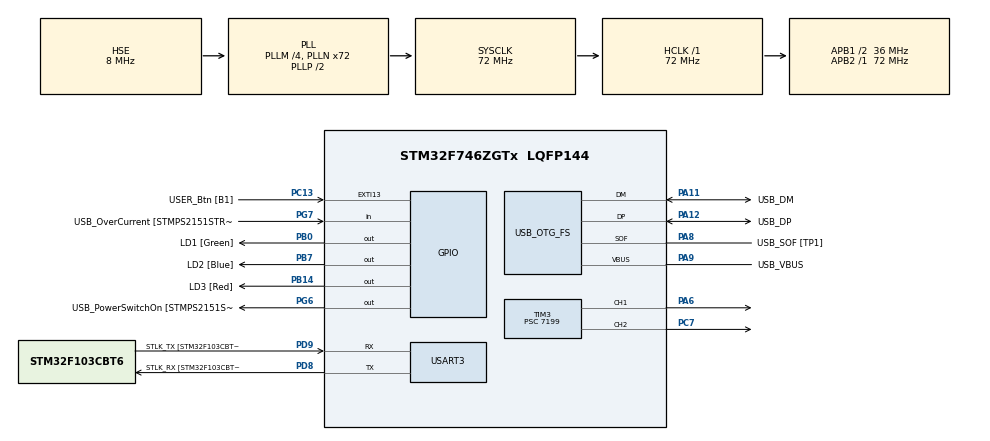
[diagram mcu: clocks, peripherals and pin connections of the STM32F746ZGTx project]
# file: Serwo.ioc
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Mcu.Family=STM32F7
Mcu.Name=STM32F746ZGTx
Mcu.Package=LQFP144
NVIC.EXTI15_10_IRQn=true\:0\:0\:false\:false\:true\:true\:true
NVIC.PriorityGroup=NVIC_PRIORITYGROUP_4
NVIC.TIM3_IRQn=true\:0\:0\:false\:false\:true\:true\:true
NVIC.TIM4_IRQn=true\:0\:0\:false\:false\:true\:true\:true
NVIC.USART3_IRQn=true\:0\:0\:false\:false\:true\:true\:true
PA1.GPIO_Label=RMII_REF_CLK [LAN8742A-CZ-TR_REFCLK0]
PA1.Signal=ETH_REF_CLK
PA10.GPIO_Label=USB_ID
PA10.Signal=USB_OTG_FS_ID
PA11.GPIO_Label=USB_DM
PA11.Mode=Device_Only
PA11.Signal=USB_OTG_FS_DM
PA12.GPIO_Label=USB_DP
PA12.Mode=Device_Only
PA12.Signal=USB_OTG_FS_DP
PA13.GPIO_Label=TMS
PA13.Mode=Serial_Wire
PA13.Signal=SYS_JTMS-SWDIO
PA14.GPIO_Label=TCK
PA14.Mode=Serial_Wire
PA14.Signal=SYS_JTCK-SWCLK
PA2.GPIO_Label=RMII_MDIO [LAN8742A-CZ-TR_MDIO]
PA2.Signal=ETH_MDIO
PA6.Signal=S_TIM3_CH1
PA7.GPIO_Label=RMII_CRS_DV [LAN8742A-CZ-TR_CRS_DV]
PA7.Signal=ETH_CRS_DV
PA8.GPIO_Label=USB_SOF [TP1]
PA8.Mode=Activate_SOF_FS
PA8.Signal=USB_OTG_FS_SOF
PA9.GPIO_Label=USB_VBUS
PA9.Mode=Activate_VBUS
PA9.Signal=USB_OTG_FS_VBUS
PB0.GPIO_Label=LD1 [Green]
PB0.Signal=GPIO_Output
PB13.GPIO_Label=RMII_TXD1 [LAN8742A-CZ-TR_TXD1]
PB13.Signal=ETH_TXD1
PB14.GPIO_Label=LD3 [Red]
PB14.Signal=GPIO_Output
PB3.GPIO_Label=SW0
PB3.Signal=SYS_JTDO-SWO
PB7.GPIO_Label=LD2 [Blue]
PB7.Signal=GPIO_Output
PC1.GPIO_Label=RMII_MDC [LAN8742A-CZ-TR_MDC]
PC1.Signal=ETH_MDC
PC13.GPIO_Label=USER_Btn [B1]
PC13.Signal=GPXTI13
PC14/OSC32_IN.Mode=LSE-External-Oscillator
PC14/OSC32_IN.Signal=RCC_OSC32_IN
PC15/OSC32_OUT.Mode=LSE-External-Oscillator
PC15/OSC32_OUT.Signal=RCC_OSC32_OUT
PC4.GPIO_Label=RMII_RXD0 [LAN8742A-CZ-TR_RXD0]
PC4.Signal=ETH_RXD0
PC5.GPIO_Label=RMII_RXD1 [LAN8742A-CZ-TR_RXD1]
PC5.Signal=ETH_RXD1
PC7.Signal=S_TIM3_CH2
PD8.GPIO_Label=STLK_RX [STM32F103CBT6_PA3]
PD8.Mode=Asynchronous
PD8.Signal=USART3_TX
PD9.GPIO_Label=STLK_TX [STM32F103CBT6_PA2]
PD9.Mode=Asynchronous
PD9.Signal=USART3_RX
PG11.GPIO_Label=RMII_TX_EN [LAN8742A-CZ-TR_TXEN]
PG11.Signal=ETH_TX_EN
PG13.GPIO_Label=RMII_TXD0 [LAN8742A-CZ-TR_TXD0]
PG13.Signal=ETH_TXD0
PG6.GPIO_Label=USB_PowerSwitchOn [STMPS2151STR_EN]
PG6.Signal=GPIO_Output
PG7.GPIO_Label=USB_OverCurrent [STMPS2151STR_FAULT]
PG7.Signal=GPIO_Input
PH0/OSC_IN.GPIO_Label=MCO [STM32F103CBT6_PA8]
PH0/OSC_IN.Mode=HSE-External-Clock-Source
PH0/OSC_IN.Signal=RCC_OSC_IN
PH1/OSC_OUT.Mode=HSE-External-Clock-Source
PH1/OSC_OUT.Signal=RCC_OSC_OUT
ProjectManager.HeapSize=0x200
ProjectManager.StackSize=0x400
ProjectManager.TargetToolchain=STM32CubeIDE
RCC.48MHZClocksFreq_Value=24000000
RCC.AHBFreq_Value=72000000
RCC.APB1CLKDivider=RCC_HCLK_DIV2
RCC.APB1Freq_Value=36000000
RCC.APB1TimFreq_Value=72000000
RCC.APB2Freq_Value=72000000
RCC.APB2TimFreq_Value=72000000
RCC.CortexFreq_Value=72000000
RCC.HCLKFreq_Value=72000000
RCC.HSE_VALUE=8000000
RCC.HSI_VALUE=16000000
RCC.PLLM=4
RCC.PLLMUL=RCC_PLL_MUL9
RCC.PLLN=72
RCC.PLLQ=3
RCC.PRESCALERUSB=RCC_USBCLKSOURCE_PLL_DIV1_5
RCC.SYSCLKFreq_VALUE=72000000
RCC.SYSCLKSource=RCC_SYSCLKSOURCE_PLLCLK
RCC.SYSCLKSourceVirtual=RCC_SYSCLKSOURCE_PLLCLK
RCC.USBFreq_Value=48000000
RCC.VCOOutputFreq_Value=144000000
SH.S_TIM3_CH1.0=TIM3_CH1,PWM Generation1 CH1
SH.S_TIM3_CH2.0=TIM3_CH2,PWM Generation2 CH2
TIM3.Channel-PWM\ Generation1\ CH1=TIM_CHANNEL_1
TIM3.Channel-PWM\ Generation2\ CH2=TIM_CHANNEL_2
TIM3.Period=199
TIM3.Prescaler=7199
TIM4.Period=99
TIM4.Prescaler=71
USART3.VirtualMode-Asynchronous=VM_ASYNC
USB_OTG_FS.VirtualMode=Device_Only
VP_TIM3_VS_ClockSourceINT.Mode=Internal
VP_TIM4_VS_ClockSourceINT.Mode=Internal
board=NUCLEO-F746ZG

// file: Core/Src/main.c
/* USER CODE BEGIN Header */
/**
  ******************************************************************************
  * @file           : main.c
  * @brief          : Main program body
  ******************************************************************************
  * @attention
  *
  * <h2><center>&copy; Copyright (c) 2020 STMicroelectronics.
  * All rights reserved.</center></h2>
  *
  * This software component is licensed by ST under BSD 3-Clause license,
  * the "License"; You may not use this file except in compliance with the
  * License. You may obtain a copy of the License at:
  *                        opensource.org/licenses/BSD-3-Clause
  *
  ******************************************************************************
  */
/* USER CODE END Header */

#include "main.h"
#include "tim.h"
#include "usart.h"
#include "usb_otg.h"
#include "gpio.h"

/* USER CODE BEGIN Includes */
#include <stdio.h>
#include <stdlib.h>
/* USER CODE END Includes */

/* USER CODE BEGIN PV */
uint8_t buffer[50];
int pwm_duty,duty;

/* USER CODE END PV */

void SystemClock_Config(void);

/* USER CODE BEGIN 0 */

void HAL_UART_RxCpltCallback(UART_HandleTypeDef *huart)
{

 uint8_t Data[40]; // Tablica przechowujaca wysylana wiadomosc.
 uint16_t size = 0; // Rozmiar wysylanej wiadomosci

 size = sprintf(Data, "Odebrana wiadomosc: %s\r",buffer);

 pwm_duty=atoi(buffer);
 int pwmx_duty = floor(pwm_duty/10000);
 int pwmy_duty = pwm_duty%10000;
 modulate_x(pwmx_duty);
 modulate_y(pwmy_duty);
 HAL_UART_Transmit_IT(&huart3, Data, size); // Rozpoczecie nadawania danych z wykorzystaniem przerwan
 HAL_UART_Receive_IT(&huart3, buffer, 8); // Ponowne włączenie nasłuchiwania
 }

void modulate_x(int amp)
  {

	amp=((amp-1000)*0.1)*1.25+25;
	duty=amp;
	int SET_COMPARE=(amp * __HAL_TIM_GET_AUTORELOAD(&htim3))/1000;
	__HAL_TIM_SET_COMPARE(&htim3,TIM_CHANNEL_2,SET_COMPARE);
  }

void modulate_y(int amp)
  {
	amp=((amp-500)*0.05)*1.25+25;
	duty=amp;
	int SET_COMPARE=(amp * __HAL_TIM_GET_AUTORELOAD(&htim3))/1000;
	__HAL_TIM_SET_COMPARE(&htim3,TIM_CHANNEL_1,SET_COMPARE);
  }

/* USER CODE END 0 */

int main(void)
{

  /* MCU Configuration--------------------------------------------------------*/

  /* Reset of all peripherals, Initializes the Flash interface and the Systick. */
  HAL_Init();

  /* Configure the system clock */
  SystemClock_Config();

  /* Initialize all configured peripherals */
  MX_GPIO_Init();
  MX_USART3_UART_Init();
  MX_USB_OTG_FS_PCD_Init();
  MX_TIM3_Init();
  MX_TIM4_Init();
  HAL_GPIO_WritePin(LD1_GPIO_Port,LD1_Pin, GPIO_PIN_SET);
  /* USER CODE BEGIN 2 */
  HAL_TIM_Base_Start_IT(&htim3);
  HAL_TIM_PWM_Start(&htim3, TIM_CHANNEL_1);
  HAL_TIM_PWM_Start(&htim3, TIM_CHANNEL_2);

  HAL_UART_Receive_IT(&huart3, &buffer, 8);
  /* USER CODE END 2 */

  /* Infinite loop */
  while (1)
  {

  }
}

void SystemClock_Config(void)
{
  RCC_OscInitTypeDef RCC_OscInitStruct = {0};
  RCC_ClkInitTypeDef RCC_ClkInitStruct = {0};
  RCC_PeriphCLKInitTypeDef PeriphClkInitStruct = {0};

  /** Configure LSE Drive Capability
  */
  HAL_PWR_EnableBkUpAccess();
  /** Configure the main internal regulator output voltage
  */
  __HAL_RCC_PWR_CLK_ENABLE();
  __HAL_PWR_VOLTAGESCALING_CONFIG(PWR_REGULATOR_VOLTAGE_SCALE3);
  /** Initializes the CPU, AHB and APB busses clocks
  */
  RCC_OscInitStruct.OscillatorType = RCC_OSCILLATORTYPE_HSE;
  RCC_OscInitStruct.HSEState = RCC_HSE_BYPASS;
  RCC_OscInitStruct.PLL.PLLState = RCC_PLL_ON;
  RCC_OscInitStruct.PLL.PLLSource = RCC_PLLSOURCE_HSE;
  RCC_OscInitStruct.PLL.PLLM = 4;
  RCC_OscInitStruct.PLL.PLLN = 72;
  RCC_OscInitStruct.PLL.PLLP = RCC_PLLP_DIV2;
  RCC_OscInitStruct.PLL.PLLQ = 3;
  if (HAL_RCC_OscConfig(&RCC_OscInitStruct) != HAL_OK)
  {
    Error_Handler();
  }
  /** Initializes the CPU, AHB and APB busses clocks
  */
  RCC_ClkInitStruct.ClockType = RCC_CLOCKTYPE_HCLK|RCC_CLOCKTYPE_SYSCLK
                              |RCC_CLOCKTYPE_PCLK1|RCC_CLOCKTYPE_PCLK2;
  RCC_ClkInitStruct.SYSCLKSource = RCC_SYSCLKSOURCE_PLLCLK;
  RCC_ClkInitStruct.AHBCLKDivider = RCC_SYSCLK_DIV1;
  RCC_ClkInitStruct.APB1CLKDivider = RCC_HCLK_DIV2;
  RCC_ClkInitStruct.APB2CLKDivider = RCC_HCLK_DIV1;

  if (HAL_RCC_ClockConfig(&RCC_ClkInitStruct, FLASH_LATENCY_2) != HAL_OK)
  {
    Error_Handler();
  }
  PeriphClkInitStruct.PeriphClockSelection = RCC_PERIPHCLK_USART3|RCC_PERIPHCLK_CLK48;
  PeriphClkInitStruct.Usart3ClockSelection = RCC_USART3CLKSOURCE_PCLK1;
  PeriphClkInitStruct.Clk48ClockSelection = RCC_CLK48SOURCE_PLL;
  if (HAL_RCCEx_PeriphCLKConfig(&PeriphClkInitStruct) != HAL_OK)
  {
    Error_Handler();
  }
}

void Error_Handler(void)
{
}

/************************ (C) COPYRIGHT STMicroelectronics *****END OF FILE****/
